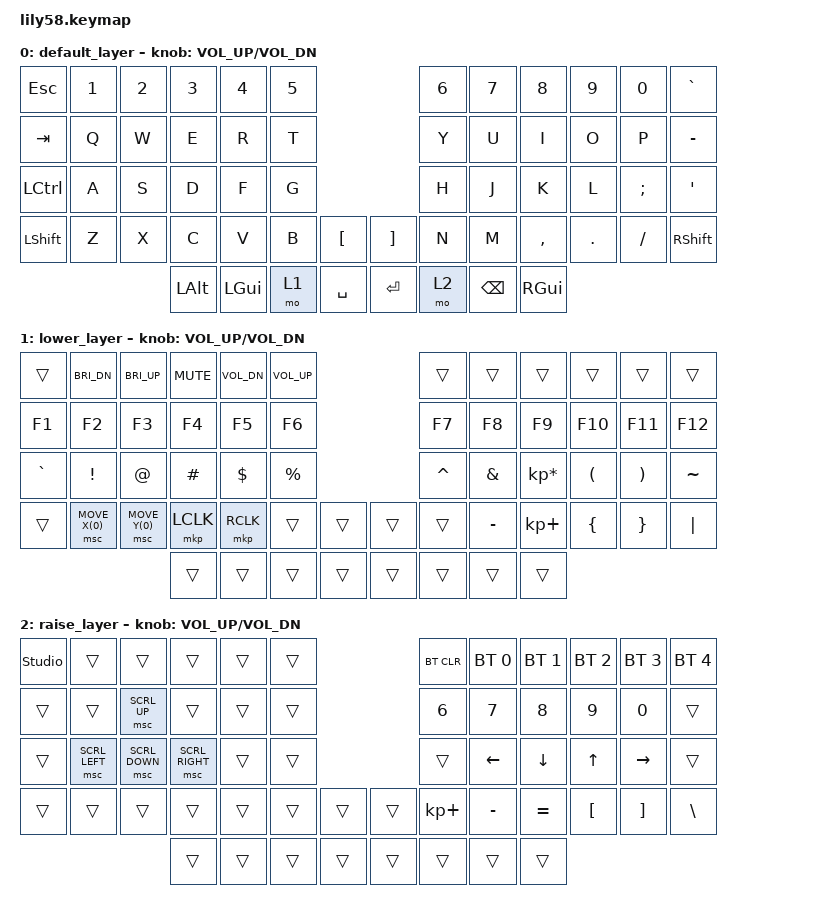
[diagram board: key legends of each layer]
/*
 * Copyright (c) 2020 The ZMK Contributors
 *
 * SPDX-License-Identifier: MIT
 */

#include <behaviors.dtsi>
#include <dt-bindings/zmk/bt.h>
#include <dt-bindings/zmk/keys.h>
#include <dt-bindings/zmk/pointing.h>

/ {
    keymap {
        compatible = "zmk,keymap";

        default_layer {
            // ------------------------------------------------------------------------------------------------------------
            // |  ESC  |  1  |  2  |  3   |  4   |  5   |                   |  6   |  7    |  8    |  9   |   0   |   `   |
            // |  TAB  |  Q  |  W  |  E   |  R   |  T   |                   |  Y   |  U    |  I    |  O   |   P   |   -   |
            // |  CTRL |  A  |  S  |  D   |  F   |  G   |                   |  H   |  J    |  K    |  L   |   ;   |   '   |
            // | SHIFT |  Z  |  X  |  C   |  V   |  B   |   "["  |  |  "]"  |  N   |  M    |  ,    |  .   |   /   | SHIFT |
            //                     | ALT  | GUI  | LOWER|  SPACE |  | ENTER | RAISE| BSPC  | GUI   |

            bindings = <
&kp ESC    &kp N1  &kp N2  &kp N3    &kp N4    &kp N5                         &kp N6  &kp N7    &kp N8     &kp N9   &kp N0    &kp GRAVE
&kp TAB    &kp Q   &kp W   &kp E     &kp R     &kp T                          &kp Y   &kp U     &kp I      &kp O    &kp P     &kp MINUS
&kp LCTRL  &kp A   &kp S   &kp D     &kp F     &kp G                          &kp H   &kp J     &kp K      &kp L    &kp SEMI  &kp SQT
&kp LSHFT  &kp Z   &kp X   &kp C     &kp V     &kp B   &kp LBKT     &kp RBKT  &kp N   &kp M     &kp COMMA  &kp DOT  &kp FSLH  &kp RSHFT
                           &kp LALT  &kp LGUI  &mo 1   &kp SPACE    &kp RET   &mo 2   &kp BSPC  &kp RGUI
            >;

            sensor-bindings = <&inc_dec_kp C_VOL_UP C_VOL_DN>;
        };

        lower_layer {
            // --------------------------------------------------------------------------------------------------------------
            // | LPAD  | BRDn | BRUp |  MUT |  Vo- |  Vo+ |                   |      |       |       |      |       |       |
            // |  F1   |  F2  |  F3  |  F4  |  F5  |  F6  |                   |  F7  |  F8   |  F9   |  F10 |  F11  |  F12  |
            // |   `   |  !   |  @   |  #   |  $   |  %   |                   |  ^   |  &    |  *    |  (   |   )   |   ~   |
            // |       |      |      |      |      |      |        |  |       |      |  _    |  +    |  {   |   }   |  "|"  |
            //                       |      |      |      |        |  |       |      |       |       |

            bindings = <
&trans     &kp C_BRI_DN    &kp C_BRI_UP    &kp C_MUTE  &kp C_VOL_DN  &kp C_VOL_UP                    &trans     &trans     &trans           &trans    &trans    &trans
&kp F1     &kp F2          &kp F3          &kp F4      &kp F5        &kp F6                          &kp F7     &kp F8     &kp F9           &kp F10   &kp F11   &kp F12
&kp GRAVE  &kp EXCL        &kp AT          &kp HASH    &kp DOLLAR    &kp PRCNT                       &kp CARET  &kp AMPS   &kp KP_MULTIPLY  &kp LPAR  &kp RPAR  &kp TILDE
&trans     &msc MOVE_X(0)  &msc MOVE_Y(0)  &mkp LCLK   &mkp RCLK     &trans        &trans    &trans  &trans     &kp MINUS  &kp KP_PLUS      &kp LBRC  &kp RBRC  &kp PIPE
                                           &trans      &trans        &trans        &trans    &trans  &trans     &trans     &trans
            >;

            sensor-bindings = <&inc_dec_kp C_VOL_UP C_VOL_DN>;
        };

        raise_layer {
            // ------------------------------------------------------------------------------------------------------------
            // |       |     |     |      |      |      |                   |      |       |       |      |       |       |
            // |   `   |  1  |  2  |  3   |  4   |  5   |                   |  6   |   7   |   8   |  9   |   0   |       |
            // |   F1  |  F2 |  F3 |  F4  |  F5  |  F6  |                   |      |   <-  |   v   |  ^   |  ->   |       |
            // |   F7  |  F8 |  F9 |  F10 |  F11 |  F12 |        |  |       |  +   |   -   |   =   |  [   |   ]   |   \   |
            //                     |      |      |      |        |  |       |      |       |       |

            bindings = <
&studio_unlock  &trans          &trans          &trans           &trans  &trans                    &bt BT_CLR   &bt BT_SEL 0  &bt BT_SEL 1  &bt BT_SEL 2  &bt BT_SEL 3  &bt BT_SEL 4
&trans          &trans          &msc SCRL_UP    &trans           &trans  &trans                    &kp N6       &kp N7        &kp N8        &kp N9        &kp N0        &trans
&trans          &msc SCRL_LEFT  &msc SCRL_DOWN  &msc SCRL_RIGHT  &trans  &trans                    &trans       &kp LEFT      &kp DOWN      &kp UP        &kp RIGHT     &trans
&trans          &trans          &trans          &trans           &trans  &trans  &trans    &trans  &kp KP_PLUS  &kp MINUS     &kp EQUAL     &kp LBKT      &kp RBKT      &kp BSLH
                                                &trans           &trans  &trans  &trans    &trans  &trans       &trans        &trans
            >;

            sensor-bindings = <&inc_dec_kp C_VOL_UP C_VOL_DN>;
        };
    };
};
